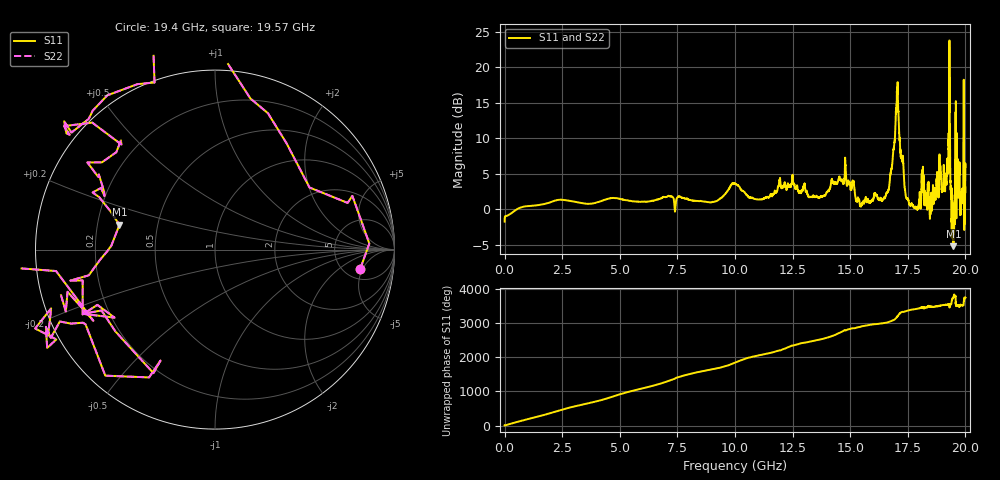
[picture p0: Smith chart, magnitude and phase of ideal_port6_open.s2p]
! Created with skrf (http://scikit-rf.org).
# GHz S RI R 50.0
!freq ReS11 ImS11 ReS21 ImS21 ReS12 ImS12 ReS22 ImS22
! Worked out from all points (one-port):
!   10001 points, 1 MHz to 20 GHz, reference 50 ohm
!   lowest |S11| = -5.2 dB at 19.48 GHz (marker M1), VSWR 3.45, Z = 14.7 + j5.84 ohm
!   |S11| at or under -10 dB: nowhere
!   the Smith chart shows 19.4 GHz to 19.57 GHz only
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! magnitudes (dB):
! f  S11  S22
! 1 MHz  -1.7  -1.7
! 3.335 GHz  0.9  0.9
! 6.669 GHz  1.4  1.4
! 9.037 GHz  1.0  1.0
! 10 GHz  3.6  3.6
! 13.33 GHz  1.8  1.8
! 14.73 GHz  3.7  3.7
! 15.5 GHz  0.6  0.6
! 16.67 GHz  2.8  2.8
! 17.04 GHz  17.2  17.2
! 17.4 GHz  2.2  2.2
! 17.53 GHz  1.3  1.3
! 17.88 GHz  0.1  0.1
! 18.17 GHz  4.8  4.8
! 18.53 GHz  1.0  1.0
! 18.85 GHz  2.8  2.8
! 19.09 GHz  4.6  4.6
! 19.24 GHz  5.3  5.3
! 19.48 GHz  -5.2  -5.2
! 19.65 GHz  5.9  5.9
! 19.86 GHz  2.2  2.2
! 20 GHz  6.0  6.0
